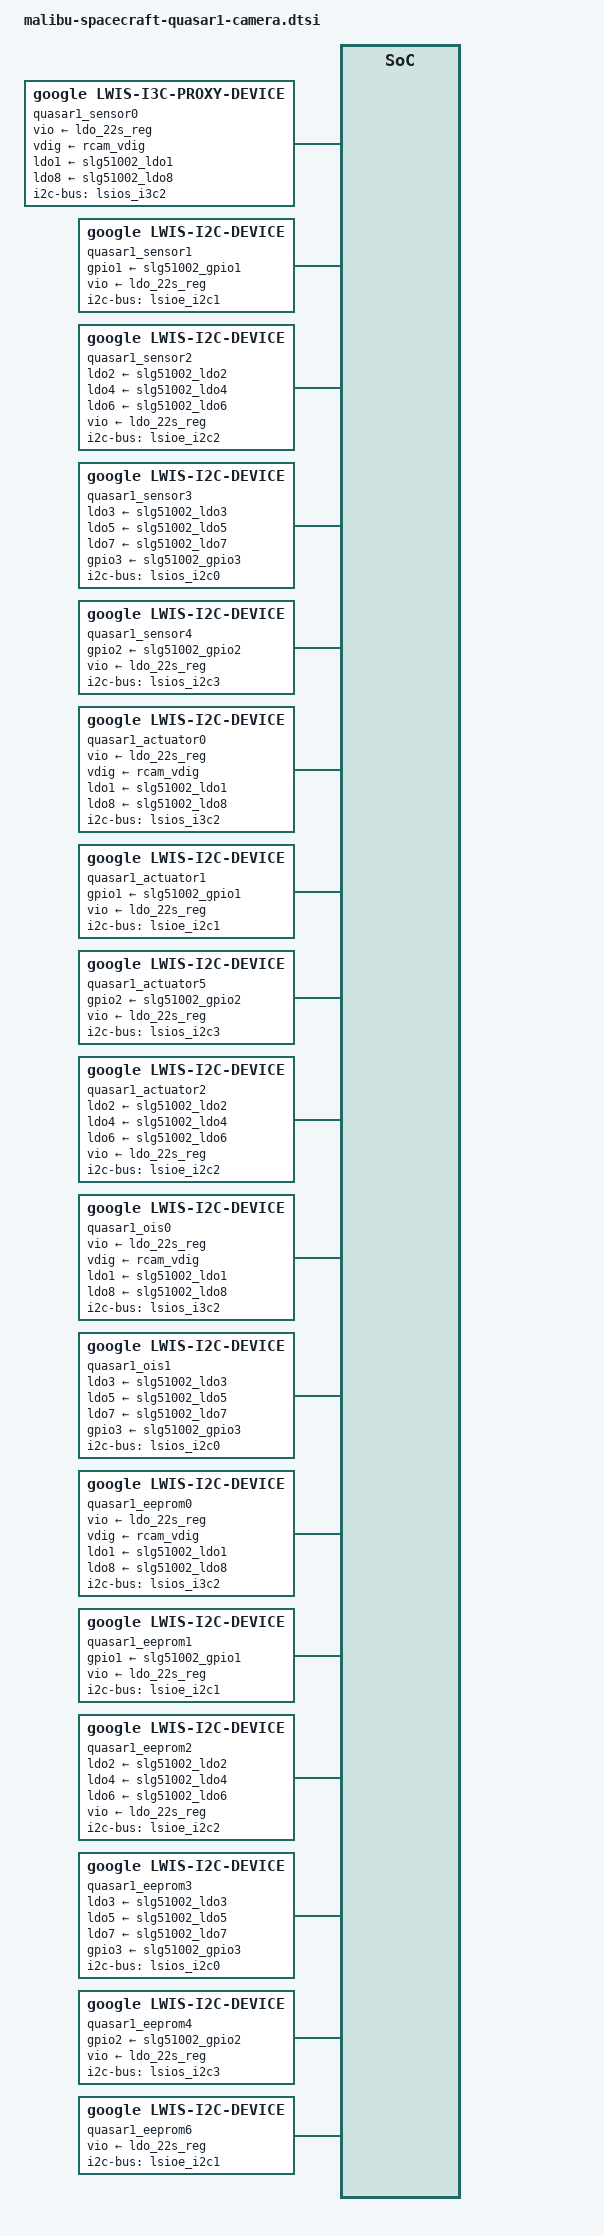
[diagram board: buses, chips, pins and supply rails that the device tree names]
// SPDX-License-Identifier: GPL-2.0-only
/*
 * camera lwis device tree for spacecraft
 *
 * Copyright 2025 Google LLC.
 *
 */

#include <dt-bindings/gpio/gpio.h>

/ {
	fragment@lwiscamera {
		target-path = "/";
		__overlay__ {
			quasar1_rear_main_camera_power_seq: quasar1_module_power_seq@0 {
				/* Power up sequence */
				power-up-seqs =
					"ldo1",
					"lvbuck_enable",
					"vdig",
					"vio",
					"ldo5",
					"ldo8",
					"ldo4",
					"resume",
					"mclk_on";
				power-up-seq-types =
					"regulator",
					"gpio",
					"regulator",
					"regulator",
					"regulator",
					"regulator",
					"regulator",
					"controller",
					"pinctrl";
				power-up-seq-delays-us =
					<10
					 0
					 0
					 10
					 1000
					 2000
					 7000
					 0
					 0>;

				/* Power down sequence */
				power-down-seqs =
					"suspend",
					"mclk_off",
					"ldo4",
					"ldo8",
					"ldo5",
					"vio",
					"vdig",
					"lvbuck_enable",
					"ldo1";
				power-down-seq-types =
					"controller",
					"pinctrl",
					"regulator",
					"regulator",
					"regulator",
					"regulator",
					"regulator",
					"gpio",
					"regulator";
				power-down-seq-delays-us =
					<0
					 1000
					 0
					 0
					 0
					 0
					 1000
					 0
					 0>;
			};

			quasar1_outer_front_camera_power_seq: quasar1_module_power_seq@1 {
				/* Power up sequence */
				power-up-seqs =
					"vio",
					"gpio1",
					"reset",
					"mclk_on",
					"resume";
				power-up-seq-types =
					"regulator",
					"regulator",
					"gpio",
					"pinctrl",
					"controller";
				power-up-seq-delays-us =
					<10
					 10
					 0
					 8000
					 0>;

				/* Power down sequence */
				power-down-seqs =
					"suspend",
					"mclk_off",
					"reset",
					"gpio1",
					"vio";
				power-down-seq-types =
					"controller",
					"pinctrl",
					"gpio",
					"regulator",
					"regulator";
				power-down-seq-delays-us =
					<0
					 0
					 0
					 0
					 1000>;
			};

			quasar1_rear_uw_camera_power_seq: quasar1_module_power_seq@2 {
				/* Power up sequence */
				power-up-seqs =
					"vio",
					"ldo6",
					"ldo2",
					"ldo4",
					"reset",
					"mclk_on",
					"resume";
				power-up-seq-types =
					"regulator",
					"regulator",
					"regulator",
					"regulator",
					"gpio",
					"pinctrl",
					"controller";
				power-up-seq-delays-us =
					<0
					 0
					 0
					 1000
					 0
					 10000
					 0>;

				/* Power down sequence */
				power-down-seqs =
					"suspend",
					"mclk_off",
					"reset",
					"ldo4",
					"ldo2",
					"ldo6",
					"vio";
				power-down-seq-types =
					"controller",
					"pinctrl",
					"gpio",
					"regulator",
					"regulator",
					"regulator",
					"regulator";
				power-down-seq-delays-us =
					<0
					 0
					 1000
					 0
					 0
					 0
					 1000>;
			};

			quasar1_rear_tele_camera_power_seq: quasar1_module_power_seq@3 {
				/* Power up sequence */
				power-up-seqs =
					"vio",
					"ldo7",
					"ldo3",
					"ldo5",
					"gpio3",
					"reset",
					"shared-reset",
					"mclk_on",
					"resume";
				power-up-seq-types =
					"regulator",
					"regulator",
					"regulator",
					"regulator",
					"regulator",
					"gpio",
					"gpio",
					"pinctrl",
					"controller";
				power-up-seq-delays-us =
					<0
					 0
					 0
					 1000
					 1000
					 0
					 0
					 10000
					 0>;

				/* Power down sequence */
				power-down-seqs =
					"suspend",
					"mclk_off",
					"shared-reset",
					"reset",
					"gpio3",
					"ldo5",
					"ldo3",
					"ldo7",
					"vio";
				power-down-seq-types =
					"controller",
					"pinctrl",
					"gpio",
					"gpio",
					"regulator",
					"regulator",
					"regulator",
					"regulator",
					"regulator";
				power-down-seq-delays-us =
					<0
					 0
					 1000
					 0
					 1000
					 0
					 0
					 0
					 0>;
			};

			quasar1_front_camera_power_seq: quasar1_module_power_seq@4 {
				/* Power up sequence */
				power-up-seqs =
					"vio",
					"gpio2",
					"reset",
					"mclk_on",
					"resume";
				power-up-seq-types =
					"regulator",
					"regulator",
					"gpio",
					"pinctrl",
					"controller";
				power-up-seq-delays-us =
					<10
					 10
					 0
					 1000
					 0>;

				/* Power down sequence */
				power-down-seqs =
					"suspend",
					"mclk_off",
					"reset",
					"gpio2",
					"vio";
				power-down-seq-types =
					"controller",
					"pinctrl",
					"gpio",
					"regulator",
					"regulator";
				power-down-seq-delays-us =
					<0
					 0
					 0
					 0
					 0>;
			};

			/* REAR CAMERA BOITATA CSIB */
			quasar1_sensor0: quasar1_sensor@0 {
				compatible = "google,lwis-i3c-proxy-device";

				/* Device node name */
				node-name = "sensor-boitata";

				/* I2C */
				i2c-bus = <&lsios_i3c2>;
				i2c-addr = <0x3D>;
				/* I3C */
				i3c-enabled;
				i3c-dcr = <130>;

				/* Power up mode */
				lwis,power-up-to-suspend;

				/* Registers */
				reg-addr-bitwidth = <16>;
				reg-value-bitwidth = <16>;

				 /* I2C OTP settings (reg, val) */
				i2c-otp-settings =
					<0xFCFC 0x4000
					 0x6012 0x0001
					 0x7002 0x0008
					 0x6014 0x0001>;
				i2c-otp-settle-time = <10000>;

				/* I3C OTP settings (reg, val) */
				i3c-otp-settings =
					<0xFCFC 0x4000
					 0x6012 0x0001
					 0x7002 0x1008
					 0x6066 0x0216
					 0x6068 0x08EF
					 0x6014 0x0001>;
				i3c-otp-settle-time = <10000>;

				/* I3C IBI */
				ibi-max-payload-len = <3>;
				ibi-num-slots = <8>;

				/* GPIOs */
				lvbuck_enable-gpios = <PMICM2CAM_LVBUCK_EN(GPIO_ACTIVE_HIGH)>;
				reset-gpios = <AP2RCAM_RST_L(GPIO_ACTIVE_HIGH)>;

				/* Power supplies */
				vio-supply = <&ldo_22s_reg>;
				vdig-supply = <&rcam_vdig>;
				ldo1-supply = <&slg51002_ldo1>;
				ldo8-supply = <&slg51002_ldo8>;
				ldo4-supply = <&slg51002_ldo4>;
				ldo5-supply = <&slg51002_ldo5>;

				/* Power domains: cpm_clk */
				power-domains = <&sswrp_lsio_s_pd>;

				clocks = <&lsio_s_m4_clk>;
				clock-names = "MCLK4";
				clock-rates = <24576000>;

				/* MCLK Control */
				pinctrl-names = "mclk_on", "mclk_off";
				pinctrl-0 = <&ap2rcam_mclk_24mhz>;
				pinctrl-1 = <&ap2rcam_mclk_24mhz_sleep>;

				/* Power sequence */
				power-seq = <&quasar1_rear_main_camera_power_seq>;

				/* resume sequence */
				resume-seqs = "reset";
				resume-seq-types = "gpio";
				resume-seq-delays-us = <9000>;

				/* suspend sequence */
				suspend-seqs = "reset";
				suspend-seq-types = "gpio";
				suspend-seq-delays-us = <1000>;

				/* Thread priority */
				transaction-thread-priority = <99>;

				i2c-lock-group-id = <0>;
				transaction-process-limit = <20>;
			};

			/* FRONT CAMERA DOKKAEBI CSIF */
			quasar1_sensor1: quasar1_sensor@1 {
				compatible = "google,lwis-i2c-device";

				/* Device node name */
				node-name = "sensor-dokkaebi";

				/* I2C */
				i2c-bus = <&lsioe_i2c1>;
				i2c-addr = <0x10>;

				/* Registers */
				reg-addr-bitwidth = <16>;
				reg-value-bitwidth = <16>;

				/* GPIOs */
				reset-gpios = <AP2FCAM0_RST_L(GPIO_ACTIVE_HIGH)>;

				/* Power supplies */
				gpio1-supply = <&slg51002_gpio1>;
				vio-supply = <&ldo_22s_reg>;

				/* Power domains: cpm_clk */
				power-domains = <&sswrp_lsio_s_pd>;

				clocks = <&lsio_s_m6_clk>;
				clock-names = "MCLK6";
				clock-rates = <24576000>;

				/* MCLK Control */
				pinctrl-names = "mclk_on", "mclk_off";
				pinctrl-0 = <&ap2fcam0_mclk_24mhz>;
				pinctrl-1 = <&ap2fcam0_mclk_24mhz_sleep>;

				/* Power sequence */
				power-seq = <&quasar1_outer_front_camera_power_seq>;

				/* Thread priority */
				transaction-thread-priority = <99>;

				i2c-lock-group-id = <1>;
			};

			/* REAR ULTRA WIDE CAMERA TAOTIE CSIA */
			quasar1_sensor2: quasar1_sensor@2 {
				compatible = "google,lwis-i2c-device";

				/* Device node name */
				node-name = "sensor-taotie-uw";

				/* I2C */
				i2c-bus = <&lsioe_i2c2>;
				i2c-addr = <0x1A>;

				/* Registers */
				reg-addr-bitwidth = <16>;
				reg-value-bitwidth = <8>;

				/* GPIOs */
				reset-gpios = <AP2RUWCAM_RST_L(GPIO_ACTIVE_HIGH)>;

				/* Power supplies */
				ldo2-supply = <&slg51002_ldo2>;
				ldo4-supply = <&slg51002_ldo4>;
				ldo6-supply = <&slg51002_ldo6>;
				vio-supply = <&ldo_22s_reg>;

				/* Power domains: cpm_clk */
				power-domains = <&sswrp_lsio_s_pd>;

				clocks = <&lsio_s_m2_clk>;
				clock-names = "MCLK2";
				clock-rates = <24576000>;

				/* MCLK Control */
				pinctrl-names = "mclk_on", "mclk_off";
				pinctrl-0 = <&ap2ruwcam_mclk_24mhz>;
				pinctrl-1 = <&ap2ruwcam_mclk_24mhz_sleep>;

				/* Power sequence */
				power-seq = <&quasar1_rear_uw_camera_power_seq>;

				/* Thread priority */
				transaction-thread-priority = <99>;

				i2c-lock-group-id = <2>;
			};

			/* REAR Folded Tele / FCAM1 Camera TAOTIE CSIE */
			quasar1_sensor3: quasar1_sensor@3 {
				compatible = "google,lwis-i2c-device";

				/* Device node name */
				node-name = "sensor-taotie-tele";

				/* I2C */
				i2c-bus = <&lsios_i2c0>;
				i2c-addr = <0x33>;

				/* Registers */
				reg-addr-bitwidth = <16>;
				reg-value-bitwidth = <8>;

				/* GPIOs */
				reset-gpios = <AP2FCAM1_RST_L(GPIO_ACTIVE_HIGH)>;
				shared-reset-gpios = <AP2RTCAM_AF_OIS_RST(GPIO_ACTIVE_HIGH)>;

				/* Power supplies */
				ldo3-supply = <&slg51002_ldo3>;
				ldo5-supply = <&slg51002_ldo5>;
				ldo7-supply = <&slg51002_ldo7>;
				gpio3-supply = <&slg51002_gpio3>;
				vio-supply = <&ldo_22s_reg>;

				/* Power domains: cpm_clk */
				power-domains = <&sswrp_lsio_s_pd>;

				clocks = <&lsio_s_m3_clk>;
				clock-names = "MCLK3";
				clock-rates = <24576000>;

				/* MCLK Control */
				pinctrl-names = "mclk_on", "mclk_off";
				pinctrl-0 = <&ap2fcam1_mclk_24mhz>;
				pinctrl-1 = <&ap2fcam1_mclk_24mhz_sleep>;

				/* Power sequence */
				power-seq = <&quasar1_rear_tele_camera_power_seq>;

				/* Thread priority */
				transaction-thread-priority = <99>;

				i2c-lock-group-id = <3>;
			};

			/* FRONT / RT CAMERA TAOTIE CSIC */
			quasar1_sensor4: quasar1_sensor@4 {
				compatible = "google,lwis-i2c-device";

				/* Device node name */
				node-name = "sensor-taotie-front";

				/* I2C */
				i2c-bus = <&lsios_i2c3>;
				i2c-addr = <0x1A>;

				/* Registers */
				reg-addr-bitwidth = <16>;
				reg-value-bitwidth = <8>;

				/* GPIOs */
				reset-gpios = <AP2RTCAM_RST_L(GPIO_ACTIVE_HIGH)>;

				gpio2-supply = <&slg51002_gpio2>;
				vio-supply = <&ldo_22s_reg>;

				/* Power domains: cpm_clk */
				power-domains = <&sswrp_lsio_s_pd>;

				clocks = <&lsio_s_m5_clk>;
				clock-names = "MCLK5";
				clock-rates = <24576000>;

				/* MCLK Control */
				pinctrl-names = "mclk_on", "mclk_off";
				pinctrl-0 = <&ap2rtcam_mclk_24mhz>;
				pinctrl-1 = <&ap2rtcam_mclk_24mhz_sleep>;

				/* Power sequence */
				power-seq = <&quasar1_front_camera_power_seq>;

				/* Thread priority */
				transaction-thread-priority = <99>;

				i2c-lock-group-id = <1>;
			};

			/* Actuator CORNERFOLK for BOITATA */
			quasar1_actuator0: quasar1_actuator@0 {
				compatible = "google,lwis-i2c-device";

				/* Device node name */
				node-name = "act-cornerfolk";

				/* I2C */
				i2c-bus = <&lsios_i3c2>;
				i2c-addr = <0xC>;

				/* Registers */
				reg-addr-bitwidth = <8>;
				reg-value-bitwidth = <8>;

				/* GPIOs */
				lvbuck_enable-gpios = <PMICM2CAM_LVBUCK_EN(GPIO_ACTIVE_HIGH)>;
				reset-gpios = <AP2RCAM_RST_L(GPIO_ACTIVE_HIGH)>;

				/* Power supplies */
				vio-supply = <&ldo_22s_reg>;
				vdig-supply = <&rcam_vdig>;
				ldo1-supply = <&slg51002_ldo1>;
				ldo8-supply = <&slg51002_ldo8>;
				ldo4-supply = <&slg51002_ldo4>;
				ldo5-supply = <&slg51002_ldo5>;

				/* MCLK Control */
				pinctrl-names = "mclk_on", "mclk_off";
				pinctrl-0 = <&ap2rcam_mclk_24mhz>;
				pinctrl-1 = <&ap2rcam_mclk_24mhz_sleep>;

				/* Power sequence */
				power-seq = <&quasar1_rear_main_camera_power_seq>;

				/* Thread priority */
				transaction-thread-priority = <99>;

				i2c-lock-group-id = <0>;
			};

			/* Actuator CORNERFOLK for DOKKAEBI */
			quasar1_actuator1: quasar1_actuator@1 {
				compatible = "google,lwis-i2c-device";

				/* Device node name */
				node-name = "act-cornerfolk-dokkaebi";

				/* I2C */
				i2c-bus = <&lsioe_i2c1>;
				i2c-addr = <0xC>;

				/* Registers */
				reg-addr-bitwidth = <8>;
				reg-value-bitwidth = <8>;

				/* GPIOs */
				reset-gpios = <AP2FCAM0_RST_L(GPIO_ACTIVE_HIGH)>;

				/* Power supplies */
				gpio1-supply = <&slg51002_gpio1>;
				vio-supply = <&ldo_22s_reg>;

				/* MCLK Control */
				pinctrl-names = "mclk_on", "mclk_off";
				pinctrl-0 = <&ap2fcam0_mclk_24mhz>;
				pinctrl-1 = <&ap2fcam0_mclk_24mhz_sleep>;

				/* Power sequence */
				power-seq = <&quasar1_outer_front_camera_power_seq>;

				/* Thread priority */
				transaction-thread-priority = <99>;

				i2c-lock-group-id = <1>;
			};

			/* Actuator for INNER FRONT CAMERA */
			quasar1_actuator5: quasar1_actuator@5 {
				compatible = "google,lwis-i2c-device";

				/* Device node name */
				node-name = "act-cornerfolk-taotie-front";

				/* I2C */
				i2c-bus = <&lsios_i2c3>;
				i2c-addr = <0xF>;

				/* Registers */
				reg-addr-bitwidth = <8>;
				reg-value-bitwidth = <8>;

				/* GPIOs */
				reset-gpios = <AP2RTCAM_RST_L(GPIO_ACTIVE_HIGH)>;

				gpio2-supply = <&slg51002_gpio2>;
				vio-supply = <&ldo_22s_reg>;

				/* MCLK Control */
				pinctrl-names = "mclk_on", "mclk_off";
				pinctrl-0 = <&ap2rtcam_mclk_24mhz>;
				pinctrl-1 = <&ap2rtcam_mclk_24mhz_sleep>;

				/* Power sequence */
				power-seq = <&quasar1_front_camera_power_seq>;

				/* Thread priority */
				transaction-thread-priority = <99>;

				i2c-lock-group-id = <1>;
			};


			/* Actuator for REAR ULTRAWIDE CAMERA */
			quasar1_actuator2: quasar1_actuator@2 {
				compatible = "google,lwis-i2c-device";

				/* Device node name */
				node-name = "act-cornerfolk-taotie-uw";

				/* I2C */
				i2c-bus = <&lsioe_i2c2>;
				i2c-addr = <0xF>;

				/* Registers */
				reg-addr-bitwidth = <8>;
				reg-value-bitwidth = <8>;

				/* GPIOs */
				reset-gpios = <AP2RUWCAM_RST_L(GPIO_ACTIVE_HIGH)>;

				/* Power supplies */
				ldo2-supply = <&slg51002_ldo2>;
				ldo4-supply = <&slg51002_ldo4>;
				ldo6-supply = <&slg51002_ldo6>;
				vio-supply = <&ldo_22s_reg>;

				/* MCLK Control */
				pinctrl-names = "mclk_on", "mclk_off";
				pinctrl-0 = <&ap2ruwcam_mclk_24mhz>;
				pinctrl-1 = <&ap2ruwcam_mclk_24mhz_sleep>;

				/* Power sequence */
				power-seq = <&quasar1_rear_uw_camera_power_seq>;

				/* Thread priority */
				transaction-thread-priority = <99>;

				i2c-lock-group-id = <2>;
			};

			/* OIS DJINN for BOITATA */
			quasar1_ois0: quasar1_ois@0 {
				compatible = "google,lwis-i2c-device";

				/* Device node name */
				node-name = "ois-djinn";

				/* I2C */
				i2c-bus = <&lsios_i3c2>;
				i2c-addr = <0x24>;

				/* Registers */
				reg-addr-bitwidth = <16>;
				reg-value-bitwidth = <32>;

				/* GPIOs */
				lvbuck_enable-gpios = <PMICM2CAM_LVBUCK_EN(GPIO_ACTIVE_HIGH)>;
				reset-gpios = <AP2RCAM_RST_L(GPIO_ACTIVE_HIGH)>;

				/* Power supplies */
				vio-supply = <&ldo_22s_reg>;
				vdig-supply = <&rcam_vdig>;
				ldo1-supply = <&slg51002_ldo1>;
				ldo8-supply = <&slg51002_ldo8>;
				ldo4-supply = <&slg51002_ldo4>;
				ldo5-supply = <&slg51002_ldo5>;

				/* MCLK Control */
				pinctrl-names = "mclk_on", "mclk_off";
				pinctrl-0 = <&ap2rcam_mclk_24mhz>;
				pinctrl-1 = <&ap2rcam_mclk_24mhz_sleep>;

				/* Power sequence */
				power-seq = <&quasar1_rear_main_camera_power_seq>;

				/* Thread priority */
				transaction-thread-priority = <99>;

				i2c-lock-group-id = <0>;
			};

			/* OIS HUMBABA for Tele */
			quasar1_ois1: quasar1_ois@1 {
				compatible = "google,lwis-i2c-device";

				/* Device node name */
				node-name = "ois-humbaba";

				/* I2C */
				i2c-bus = <&lsios_i2c0>;
				i2c-addr = <0x61>;

				/* Registers */
				reg-addr-bitwidth = <16>;
				reg-value-bitwidth = <8>;

				/* GPIOs */
				reset-gpios = <AP2FCAM1_RST_L(GPIO_ACTIVE_HIGH)>;
				shared-reset-gpios = <AP2RTCAM_AF_OIS_RST(GPIO_ACTIVE_HIGH)>;

				/* Power supplies */
				ldo3-supply = <&slg51002_ldo3>;
				ldo5-supply = <&slg51002_ldo5>;
				ldo7-supply = <&slg51002_ldo7>;
				gpio3-supply = <&slg51002_gpio3>;
				vio-supply = <&ldo_22s_reg>;

				/* MCLK Control */
				pinctrl-names = "mclk_on", "mclk_off";
				pinctrl-0 = <&ap2fcam1_mclk_24mhz>;
				pinctrl-1 = <&ap2fcam1_mclk_24mhz_sleep>;

				/* Power sequence */
				power-seq = <&quasar1_rear_tele_camera_power_seq>;

				/* Thread priority */
				transaction-thread-priority = <99>;

				i2c-lock-group-id = <3>;
				lwis,disable-group-transfer;
			};

			/* EEPROM DJINN for BOITATA */
			quasar1_eeprom0: quasar1_eeprom@0 {
				compatible = "google,lwis-i2c-device";
				/* Device node name */
				node-name = "eeprom-djinn";
				/* I2C */
				i2c-bus = <&lsios_i3c2>;
				i2c-addr = <0x24>;
				/* Registers */
				reg-addr-bitwidth = <16>;
				reg-value-bitwidth = <32>;

				/* GPIOs */
				lvbuck_enable-gpios = <PMICM2CAM_LVBUCK_EN(GPIO_ACTIVE_HIGH)>;
				reset-gpios = <AP2RCAM_RST_L(GPIO_ACTIVE_HIGH)>;

				/* Power supplies */
				vio-supply = <&ldo_22s_reg>;
				vdig-supply = <&rcam_vdig>;
				ldo1-supply = <&slg51002_ldo1>;
				ldo8-supply = <&slg51002_ldo8>;
				ldo4-supply = <&slg51002_ldo4>;
				ldo5-supply = <&slg51002_ldo5>;

				/* MCLK Control */
				pinctrl-names = "mclk_on", "mclk_off";
				pinctrl-0 = <&ap2rcam_mclk_24mhz>;
				pinctrl-1 = <&ap2rcam_mclk_24mhz_sleep>;

				/* Power sequence */
				power-seq = <&quasar1_rear_main_camera_power_seq>;

				/* Thread priority */
				/* Match with other bus devices */
				transaction-thread-priority = <99>;

				i2c-lock-group-id = <0>;
			};

			/* EEPROM SMAUG for DOKKAEBI */
			quasar1_eeprom1: quasar1_eeprom@1 {
				compatible = "google,lwis-i2c-device";

				/* Device node name */
				node-name = "eeprom-smaug-dokkaebi";

				/* I2C */
				i2c-bus = <&lsioe_i2c1>;
				i2c-addr = <0x51>;

				/* Registers */
				reg-addr-bitwidth = <16>;
				reg-value-bitwidth = <8>;

				/* GPIOs */
				reset-gpios = <AP2FCAM0_RST_L(GPIO_ACTIVE_HIGH)>;

				/* Power supplies */
				gpio1-supply = <&slg51002_gpio1>;
				vio-supply = <&ldo_22s_reg>;

				/* MCLK Control */
				pinctrl-names = "mclk_on", "mclk_off";
				pinctrl-0 = <&ap2fcam0_mclk_24mhz>;
				pinctrl-1 = <&ap2fcam0_mclk_24mhz_sleep>;

				/* Power sequence */
				power-seq = <&quasar1_outer_front_camera_power_seq>;

				/* Thread priority */
				/* Match with other bus devices */
				transaction-thread-priority = <99>;

			};

			/* EEPROM SMAUG for UW */
			quasar1_eeprom2: quasar1_eeprom@2 {
				compatible = "google,lwis-i2c-device";

				/* Device node name */
				node-name = "eeprom-smaug-taotie-uw";
				/* I2C */
				i2c-bus = <&lsioe_i2c2>;
				i2c-addr = <0x50>;

				/* Registers */
				reg-addr-bitwidth = <16>;
				reg-value-bitwidth = <8>;

				/* GPIOs */
				reset-gpios = <AP2RUWCAM_RST_L(GPIO_ACTIVE_HIGH)>;

				/* Power supplies */
				ldo2-supply = <&slg51002_ldo2>;
				ldo4-supply = <&slg51002_ldo4>;
				ldo6-supply = <&slg51002_ldo6>;
				vio-supply = <&ldo_22s_reg>;

				/* MCLK Control */
				pinctrl-names = "mclk_on", "mclk_off";
				pinctrl-0 = <&ap2ruwcam_mclk_24mhz>;
				pinctrl-1 = <&ap2ruwcam_mclk_24mhz_sleep>;

				/* Power sequence */
				power-seq = <&quasar1_rear_uw_camera_power_seq>;

				i2c-lock-group-id = <2>;
			};

			/* EEPROM HUMBABA for Tele */
			quasar1_eeprom3: quasar1_eeprom@3 {
				compatible = "google,lwis-i2c-device";

				/* Device node name */
				node-name = "eeprom-humbaba";

				/* I2C */
				i2c-bus = <&lsios_i2c0>;
				i2c-addr = <0x61>;

				/* Registers */
				reg-addr-bitwidth = <16>;
				reg-value-bitwidth = <8>;

				/* GPIOs */
				reset-gpios = <AP2FCAM1_RST_L(GPIO_ACTIVE_HIGH)>;
				shared-reset-gpios = <AP2RTCAM_AF_OIS_RST(GPIO_ACTIVE_HIGH)>;

				/* Power supplies */
				ldo3-supply = <&slg51002_ldo3>;
				ldo5-supply = <&slg51002_ldo5>;
				ldo7-supply = <&slg51002_ldo7>;
				gpio3-supply = <&slg51002_gpio3>;
				vio-supply = <&ldo_22s_reg>;

				/* MCLK Control */
				pinctrl-names = "mclk_on", "mclk_off";
				pinctrl-0 = <&ap2fcam1_mclk_24mhz>;
				pinctrl-1 = <&ap2fcam1_mclk_24mhz_sleep>;

				/* Power sequence */
				power-seq = <&quasar1_rear_tele_camera_power_seq>;

				/* Thread priority */
				/* Match with other bus devices */
				transaction-thread-priority = <99>;
				lwis,disable-group-transfer;
			};

			/* EEPROM SMAUG for TAOTIE Front */
			quasar1_eeprom4: quasar1_eeprom@4 {
				compatible = "google,lwis-i2c-device";

				/* Device node name */
				node-name = "eeprom-smaug-taotie-front";
				/* I2C */
				i2c-bus = <&lsios_i2c3>;
				i2c-addr = <0x50>;

				/* Registers */
				reg-addr-bitwidth = <16>;
				reg-value-bitwidth = <8>;

				/* GPIOs */
				reset-gpios = <AP2RTCAM_RST_L(GPIO_ACTIVE_HIGH)>;

				gpio2-supply = <&slg51002_gpio2>;
				vio-supply = <&ldo_22s_reg>;

				/* MCLK Control */
				pinctrl-names = "mclk_on", "mclk_off";
				pinctrl-0 = <&ap2rtcam_mclk_24mhz>;
				pinctrl-1 = <&ap2rtcam_mclk_24mhz_sleep>;

				/* Power sequence */
				power-seq = <&quasar1_front_camera_power_seq>;

				/* Thread priority */
				/* Match with other bus devices */
				transaction-thread-priority = <99>;

				i2c-lock-group-id = <1>;
			};

			/* EEPROM SMAUG for SVAROG OUTER */
			quasar1_eeprom6: quasar1_eeprom@6 {
				compatible = "google,lwis-i2c-device";

				/* Device node name */
				node-name = "eeprom-smaug-svarog-outer";

				/* I2C */
				i2c-bus = <&lsioe_i2c1>;
				i2c-addr = <0x50>;

				/* Registers */
				reg-addr-bitwidth = <16>;
				reg-value-bitwidth = <8>;

				/* Power supplies */
				vio-supply = <&ldo_22s_reg>;

				/* Power up sequence */
				power-up-seqs =
					"vio";
				power-up-seq-types =
					"regulator";
				power-up-seq-delays-us =
					<1000>;
				/* Power down sequence */
				power-down-seqs =
					"vio";
				power-down-seq-types =
					"regulator";
				power-down-seq-delays-us =
					<0>;

				/* Thread priority */
				/* Match with other bus devices */
				transaction-thread-priority = <99>;
			};
		};
	};
};
